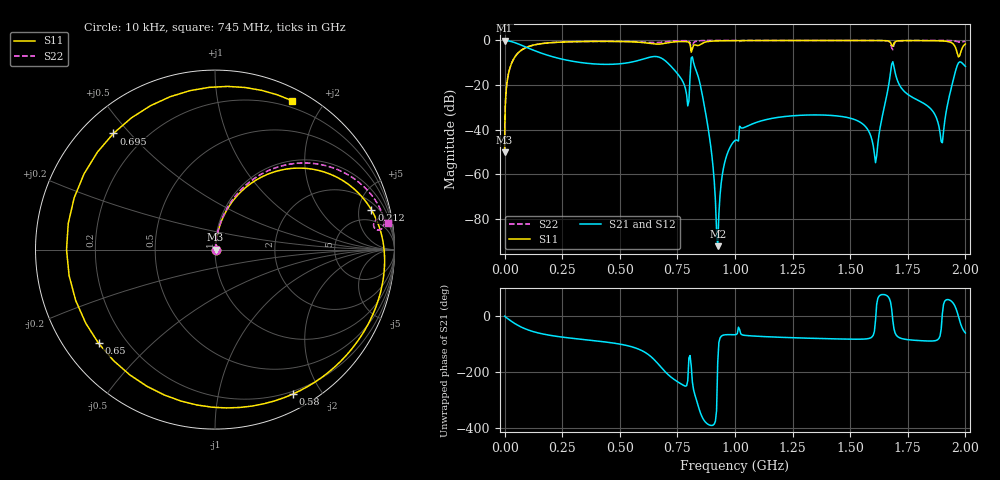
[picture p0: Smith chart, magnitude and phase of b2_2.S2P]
!Generated from: C:\Users\nkfzm\OneDrive - University of Missouri\Desktop\Research\PowerSI\Board 2.2 - GPGGGG\b2_2.spd
! Port1_ic_port_1::pwr
! Port2_decap_port_1::pwr
!Layout Workbench Version: 24.1.0.10141.541387  000
!Computer Host Name: RS29JQCX3
!TouchstoneFormatFlag = 1
! GNDNET gnd
! NETSLIST
#	Hz	Z	RI	R	1
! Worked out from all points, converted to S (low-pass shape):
!   585 points, 10 kHz to 2 GHz, reference 1 ohm
!   highest |S21| = -0.03 dB at 10 kHz (marker M1); lowest = -92.2 dB at 925 MHz (marker M2)
!   |S21| within 3 dB of the highest: start of sweep to 93.53 MHz
!   lowest |S11| = -50.1 dB at 10 kHz (marker M3), VSWR 1.01, Z = 1.01 + j0.000234 ohm
!   |S11| at or under -10 dB: start of sweep to 31.25 MHz
!   |S22| runs from -50.1 to 0.0 dB; largest |S21 - S12| = 1.5e-11
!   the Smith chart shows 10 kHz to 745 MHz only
!   S11 on the Smith chart (normalised r, x): 10 kHz: 1.01, +0.00; 212 MHz: 2.92, +6.75; 580 MHz: 0.17, -1.66; 650 MHz: 0.10, -0.35; 695 MHz: 0.09, +0.45; 745 MHz: 0.13, +1.64
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10000  -0.00586 -2.025e+05  -0.00696 -2.025e+05  -0.00696 -2.025e+05  -0.00179 -2.025e+05
7000000  0.00208 -289.3  0.000208 -289.3  0.000208 -289.3  0.00869 -289.2
3.2e7  0.00471 -63.13  0.000541 -63.26  0.000541 -63.26  0.0195 -62.67
2.12e8  0.0124 -8.571  0.00142 -9.365  0.00142 -9.365  0.0511 -5.524
3.34e8  0.0161 -4.498  0.00168 -5.771  0.00168 -5.771  0.0661 0.3599
5.8e8  0.0259 -0.5664  -0.000474 -3.063  -0.000474 -3.063  0.1037 8.418
6.5e8  0.0333 0.3421  -0.00538 -2.752  -0.00538 -2.752  0.1285 10.84
6.7e8  0.0372 0.6261  -0.00858 -2.712  -0.00858 -2.712  0.1413 11.64
6.95e8  0.0451 1.024  -0.0156 -2.717  -0.0156 -2.717  0.1664 12.79
7.45e8  0.1026 2.254  -0.0712 -3.193  -0.0712 -3.193  0.3426 16.47
7.95e8  16.71 18.2  -16.73 -18.47  -16.73 -18.47  49.19 64.75
8.35e8  0.1612 -0.7173  -0.1259 1.084  -0.1259 1.084  0.5289 7.569
8.7e8  0.0626 0.6472  -0.025 0.2057  -0.025 0.2057  0.2323 11.83
9.25e8  0.0406 1.621  0.000329 -0.000145  0.000329 -0.000145  0.1777 15.12
1.005e9  0.0374 2.586  0.00948 0.176  0.00948 0.176  1.012 21.34
1.335e9  0.0693 6.633  0.0417 2.454  0.0417 2.454  0.3674 34.95
1.61e9  0.4335 17.28  0.3982 11.73  0.3982 11.73  709.3 221.8
1.67e9  1.314 28.24  1.276 22.34  1.276 22.34  5.581 6.493
1.895e9  0.4156 -7.328  0.3584 -14.81  0.3584 -14.81  581.4 404.9
1.955e9  0.2428 -3.19  0.1748 -11.26  0.1748 -11.26  6.353 -63.96
1.975e9  0.2145 -2.225  0.1418 -10.51  0.1418 -10.51  3.696 -43.96
2e9  0.1895 -1.182  0.1097 -9.769  0.1097 -9.769  2.292 -29.1
